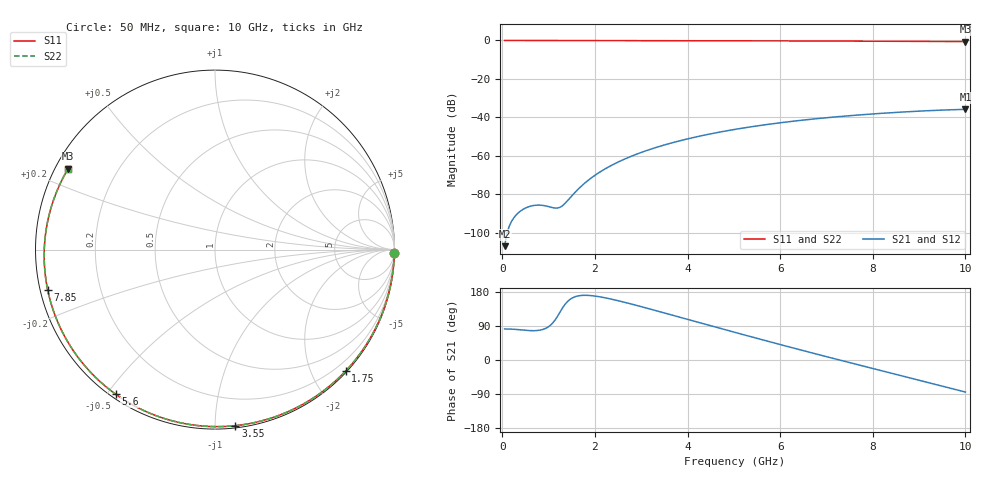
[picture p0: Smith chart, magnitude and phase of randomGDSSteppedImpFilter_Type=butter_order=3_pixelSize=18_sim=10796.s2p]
! freq	dB(S11)	phase(S11)	dB(S12)	phase(S12)
!  dB(S21)	phase(S21)	dB(S22)	phase(S22)
!S-par simulation data
#  GHz  S  DB  R 50
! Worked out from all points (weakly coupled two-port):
!   200 points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, 50 MHz to 10 GHz, reference 50 ohm
!   highest |S21| = -35.82 dB at 10 GHz (marker M1); lowest = -106.9 dB at 50 MHz (marker M2)
!   lowest |S11| = -0.6 dB at 10 GHz (marker M3), VSWR 29.45, Z = 1.81 + j12.8 ohm
!   |S11| at or under -10 dB: nowhere
!   |S22| runs from -0.6 to 0.0 dB; largest |S21 - S12| = 0
!   S11 on the Smith chart (normalised r, x): 50 MHz: 1, -94; 1.75 GHz: 0.02, -2.55; 3.55 GHz: 0.01, -1.12; 5.6 GHz: 0.01, -0.53; 7.85 GHz: 0.02, -0.12; 10 GHz: 0.04, +0.26
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0.05  -0.00 -1.2  -106.95 82.1  -106.95 82.1  -0.00 -1.2
0.4  -0.02 -10.0  -88.56 79.4  -88.56 79.4  -0.02 -10.0
0.75  -0.02 -18.7  -85.62 77.8  -85.62 77.8  -0.02 -18.7
1.1  -0.03 -27.3  -86.99 99.3  -86.99 99.3  -0.03 -27.3
1.5  -0.05 -36.9  -80.84 163.0  -80.84 163.0  -0.05 -36.9
1.55  -0.05 -38.1  -79.52 166.0  -79.52 166.0  -0.05 -38.1
1.75  -0.05 -42.9  -74.81 170.7  -74.81 170.7  -0.05 -42.9
2.05  -0.06 -49.9  -69.31 167.9  -69.31 167.9  -0.06 -49.9
2.45  -0.07 -59.1  -63.81 157.9  -63.81 157.9  -0.07 -59.2
2.9  -0.09 -69.3  -59.12 144.1  -59.12 144.1  -0.09 -69.3
3.4  -0.10 -80.2  -55.04 127.5  -55.04 127.5  -0.10 -80.2
3.55  -0.11 -83.4  -53.98 122.5  -53.98 122.5  -0.11 -83.4
4.3  -0.14 -99.0  -49.54 97.2  -49.54 97.2  -0.14 -99.0
5.05  -0.17 -113.9  -46.12 72.0  -46.12 72.0  -0.17 -113.9
5.6  -0.20 -124.5  -44.08 53.9  -44.08 53.9  -0.20 -124.5
6.15  -0.23 -134.9  -42.35 35.9  -42.35 35.9  -0.23 -134.9
6.7  -0.27 -145.2  -40.88 18.3  -40.88 18.3  -0.27 -145.2
7.3  -0.32 -156.3  -39.52 -0.6  -39.52 -0.6  -0.32 -156.3
7.85  -0.37 -166.6  -38.46 -17.7  -38.46 -17.7  -0.37 -166.6
8.35  -0.41 -176.0  -37.63 -33.1  -37.63 -33.1  -0.41 -176.0
9.2  -0.50 167.5  -36.51 -59.4  -36.51 -59.4  -0.50 167.5
10  -0.59 151.2  -35.82 -84.6  -35.82 -84.6  -0.59 151.1
